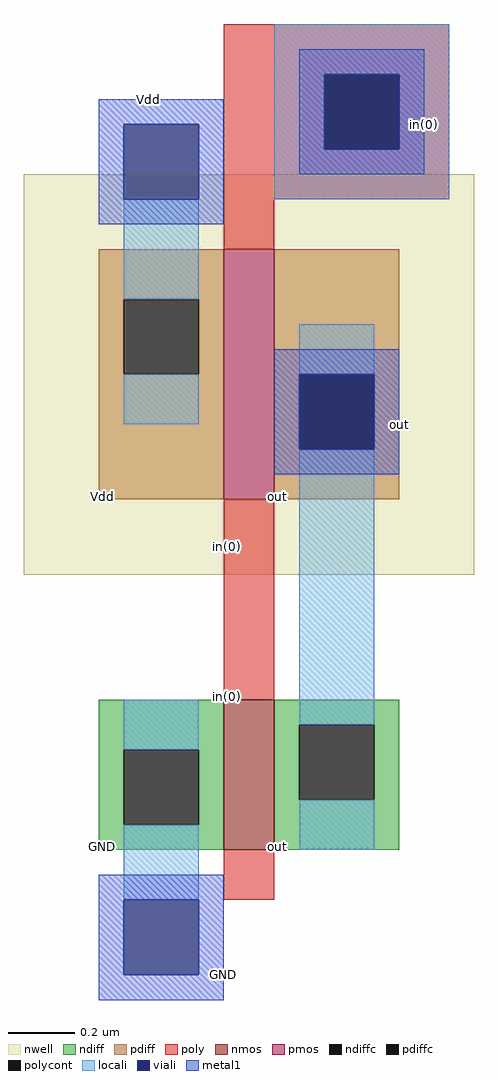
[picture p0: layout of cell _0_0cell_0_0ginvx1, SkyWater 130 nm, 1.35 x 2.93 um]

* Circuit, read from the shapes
.subckt _0_0cell_0_0ginvx1 GND Vdd out in(0)
XM1 out in(0) GND VSUBS sky130_fd_pr__nfet_01v8 w=0.45 l=0.15
XM2 out in(0) Vdd n1 sky130_fd_pr__pfet_01v8 w=0.75 l=0.15
.ends

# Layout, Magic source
magic
tech sky130A
magscale 1 2
<< nwell >>
rect 75 255 345 495
<< nmos >>
rect 195 90 225 180
<< pmos >>
rect 195 300 225 450
<< ndiff >>
rect 120 150 195 180
rect 120 105 135 150
rect 180 105 195 150
rect 120 90 195 105
rect 225 165 300 180
rect 225 120 240 165
rect 285 120 300 165
rect 225 90 300 120
<< pdiff >>
rect 120 420 195 450
rect 120 375 135 420
rect 180 375 195 420
rect 120 300 195 375
rect 225 375 300 450
rect 225 330 240 375
rect 285 330 300 375
rect 225 300 300 330
<< ndiffc >>
rect 135 105 180 150
rect 240 120 285 165
<< pdiffc >>
rect 135 375 180 420
rect 240 330 285 375
<< poly >>
rect 195 555 330 585
rect 195 510 255 555
rect 300 510 330 555
rect 195 480 330 510
rect 195 450 225 480
rect 195 180 225 300
rect 195 60 225 90
<< polycont >>
rect 255 510 300 555
<< locali >>
rect 225 555 330 585
rect 225 510 255 555
rect 300 510 330 555
rect 225 480 330 510
rect 135 420 180 480
rect 135 345 180 375
rect 240 375 285 405
rect 135 150 180 180
rect 135 60 180 105
rect 240 165 285 330
rect 240 90 285 120
<< viali >>
rect 135 480 180 525
rect 255 510 300 555
rect 240 330 285 375
rect 135 15 180 60
<< metal1 >>
rect 240 555 315 570
rect 120 525 195 540
rect 120 480 135 525
rect 180 480 195 525
rect 240 510 255 555
rect 300 510 315 555
rect 240 495 315 510
rect 120 465 195 480
rect 225 375 300 390
rect 225 330 240 375
rect 285 330 300 375
rect 225 315 300 330
rect 120 60 195 75
rect 120 15 135 60
rect 180 15 195 60
rect 120 0 195 15
<< labels >>
rlabel ndiff 227 92 227 92 3 out
rlabel poly 197 182 197 182 3 in(0)
rlabel ndiff 122 92 122 92 3 GND
rlabel pdiff 122 302 122 302 3 Vdd
rlabel poly 197 272 197 272 3 in(0)
rlabel pdiff 227 302 227 302 3 out
flabel metal1 195 15 195 15 3 FreeSerif 120 0 0 0 GND
port 1 e
flabel metal1 150 540 150 540 1 FreeSerif 120 0 0 0 Vdd
port 2 n
flabel metal1 300 345 300 345 3 FreeSerif 120 0 0 0 out
port 3 e
flabel metal1 315 525 315 525 3 FreeSerif 120 0 0 0 in(0)
port 4 e
<< end >>
